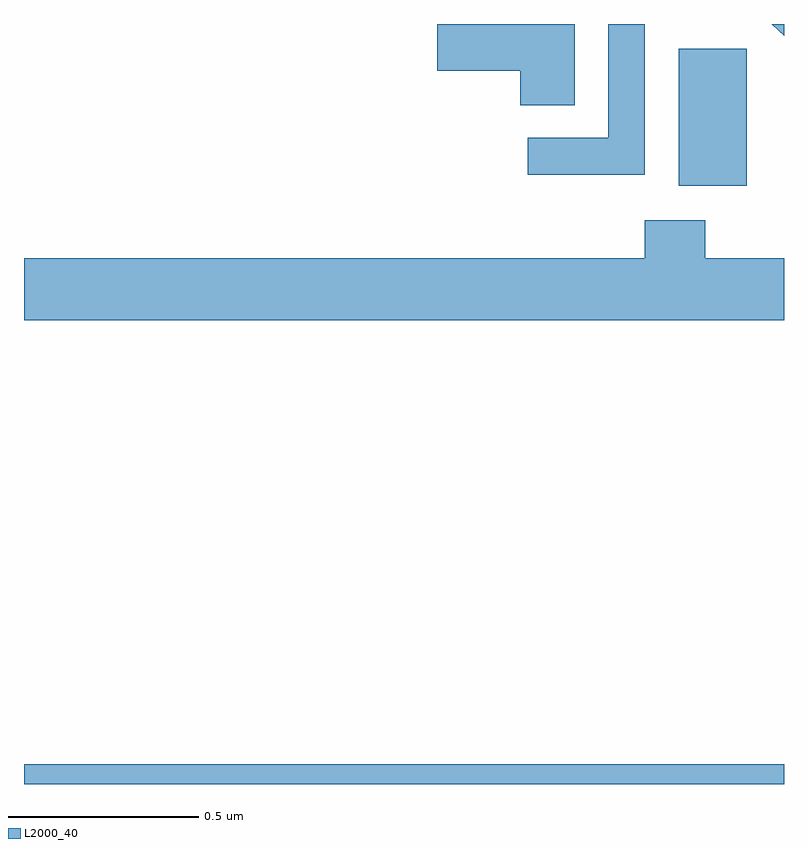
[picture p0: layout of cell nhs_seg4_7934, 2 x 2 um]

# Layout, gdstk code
import gdstk
lib = gdstk.Library(unit=1e-6, precision=1e-09)
def R(c, l, rs):  # rectangles x0, y0, x1, y1
    for r in rs: c.add(gdstk.rectangle(r[:2], r[2:], *l))
def P(c, l, *ps):  # polygons
    for p in ps: c.add(gdstk.Polygon(p, *l))
L2000_40 = (2000, 40)

nhs_seg4_7934 = lib.new_cell('nhs_seg4_7934')
R(nhs_seg4_7934, L2000_40, [(208,828.9,210,828.952), (209.723,830.474,209.902,830.835)])
P(nhs_seg4_7934, L2000_40, [(209.449,830.9),(209.088,830.9),(209.088,830.777),(209.306,830.777),(209.306,830.686),(209.449,830.686)],
  [(209.634,830.9),(209.538,830.9),(209.538,830.601),(209.325,830.601),(209.325,830.503),(209.634,830.503)],
  [(210,830.9),(209.968,830.9),(210,830.869)],
  [(210,830.284),(209.793,830.284),(209.793,830.383),(209.633,830.383),(209.633,830.284),(208,830.284),(208,830.12),(210,830.12)])

lib.write_gds('nhs_seg4_7934.gds')
